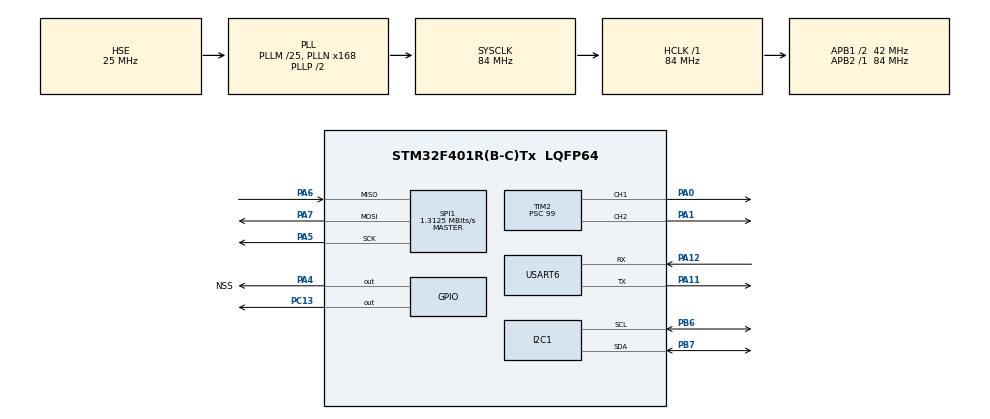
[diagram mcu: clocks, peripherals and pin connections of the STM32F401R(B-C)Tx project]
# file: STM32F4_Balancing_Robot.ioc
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I2C1.I2C_Mode=I2C_Standard
Mcu.Family=STM32F4
Mcu.Name=STM32F401R(B-C)Tx
Mcu.Package=LQFP64
NVIC.PriorityGroup=NVIC_PRIORITYGROUP_4
NVIC.TIM3_IRQn=true\:0\:0\:false\:false\:true\:true\:true\:true
NVIC.USART6_IRQn=true\:0\:0\:false\:false\:true\:true\:true\:true
PA0-WKUP.Signal=S_TIM2_CH1_ETR
PA1.Signal=S_TIM2_CH2
PA11.Mode=Asynchronous
PA11.Signal=USART6_TX
PA12.Mode=Asynchronous
PA12.Signal=USART6_RX
PA4.GPIO_Label=NSS
PA4.GPIO_Speed=GPIO_SPEED_FREQ_VERY_HIGH
PA4.PinState=GPIO_PIN_SET
PA4.Signal=GPIO_Output
PA5.Mode=Full_Duplex_Master
PA5.Signal=SPI1_SCK
PA6.Mode=Full_Duplex_Master
PA6.Signal=SPI1_MISO
PA7.Mode=Full_Duplex_Master
PA7.Signal=SPI1_MOSI
PB6.Mode=I2C
PB6.Signal=I2C1_SCL
PB7.Mode=I2C
PB7.Signal=I2C1_SDA
PC13-ANTI_TAMP.Signal=GPIO_Output
PH0\ -\ OSC_IN.Mode=HSE-External-Oscillator
PH0\ -\ OSC_IN.Signal=RCC_OSC_IN
PH1\ -\ OSC_OUT.Mode=HSE-External-Oscillator
PH1\ -\ OSC_OUT.Signal=RCC_OSC_OUT
ProjectManager.HeapSize=0x200
ProjectManager.StackSize=0x400
ProjectManager.TargetToolchain=STM32CubeIDE
RCC.48MHZClocksFreq_Value=42000000
RCC.AHBFreq_Value=84000000
RCC.APB1CLKDivider=RCC_HCLK_DIV2
RCC.APB1Freq_Value=42000000
RCC.APB1TimFreq_Value=84000000
RCC.APB2Freq_Value=84000000
RCC.APB2TimFreq_Value=84000000
RCC.CortexFreq_Value=84000000
RCC.HCLKFreq_Value=84000000
RCC.HSE_VALUE=25000000
RCC.HSI_VALUE=16000000
RCC.LSE_VALUE=32768
RCC.PLLM=25
RCC.PLLN=168
RCC.PLLSourceVirtual=RCC_PLLSOURCE_HSE
RCC.SYSCLKFreq_VALUE=84000000
RCC.SYSCLKSource=RCC_SYSCLKSOURCE_PLLCLK
RCC.VCOOutputFreq_Value=168000000
SH.S_TIM2_CH1_ETR.0=TIM2_CH1,PWM Generation1 CH1
SH.S_TIM2_CH2.0=TIM2_CH2,PWM Generation2 CH2
SPI1.BaudRatePrescaler=SPI_BAUDRATEPRESCALER_64
SPI1.CLKPhase=SPI_PHASE_2EDGE
SPI1.CLKPolarity=SPI_POLARITY_HIGH
SPI1.CalculateBaudRate=1.3125 MBits/s
SPI1.Direction=SPI_DIRECTION_2LINES
SPI1.Mode=SPI_MODE_MASTER
SPI1.VirtualType=VM_MASTER
TIM2.AutoReloadPreload=TIM_AUTORELOAD_PRELOAD_ENABLE
TIM2.Channel-PWM\ Generation1\ CH1=TIM_CHANNEL_1
TIM2.Channel-PWM\ Generation2\ CH2=TIM_CHANNEL_2
TIM2.OCFastMode_PWM-PWM\ Generation2\ CH2=TIM_OCFAST_ENABLE
TIM2.Period=839
TIM2.Prescaler=99
TIM3.AutoReloadPreload=TIM_AUTORELOAD_PRELOAD_ENABLE
TIM3.Period=41999
TIM3.Prescaler=1
USART6.VirtualMode=VM_ASYNC
VP_TIM2_VS_ClockSourceINT.Mode=Internal
VP_TIM3_VS_ClockSourceINT.Mode=Internal
board=custom

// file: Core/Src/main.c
/* USER CODE BEGIN Header */
/**
  ******************************************************************************
  * @file           : main.c
  * @brief          : Main program body
  ******************************************************************************
  * @attention
  *
  * Copyright (c) 2023 STMicroelectronics.
  * All rights reserved.
  *
  * This software is licensed under terms that can be found in the LICENSE file
  * in the root directory of this software component.
  * If no LICENSE file comes with this software, it is provided AS-IS.
  *
  ******************************************************************************
  */
/* USER CODE END Header */
#include "main.h"
#include "i2c.h"
#include "spi.h"
#include "tim.h"
#include "usart.h"
#include "gpio.h"

/* USER CODE BEGIN Includes */
#include <stdio.h>
#include <math.h>
#include "MPU9250.h"
#include "DCmotor.h"
/* USER CODE END Includes */

/* USER CODE BEGIN PTD */
int _write(int file, char *p, int len){		// printf�??????????????????????????????????????? USART6?�� ?���??????????????????????????????????????? ?��?�� ?��?��
	for (int i = 0; i < len ; i++){
		while(!LL_USART_IsActiveFlag_TXE(USART6));
		LL_USART_TransmitData8(USART6, *(p+i));
	}
	return len;
}
/* USER CODE END PTD */

/* USER CODE BEGIN PV */
extern unsigned char uart_rx_flag;
extern unsigned char uart_rx_data;

/* USER CODE END PV */

void SystemClock_Config(void);

int main(void)
{
  /* USER CODE BEGIN 1 */
	double target_roll = 0.0;
	double roll_PID = 0.0;
	double roll_err;
	double roll_err_sum = 0;
	double roll_err_dt;
	double roll_err_prev;

	short motor_input;
	double dt_double = 0.001;

	double Kp = 40;
	double Ki = 0;
	double Kd = 0;

	double roll_P;
	double roll_I;
	double roll_D;
  /* USER CODE END 1 */

  /* MCU Configuration--------------------------------------------------------*/

  /* Reset of all peripherals, Initializes the Flash interface and the Systick. */
  HAL_Init();

  /* Configure the system clock */
  SystemClock_Config();

  /* Initialize all configured peripherals */
  MX_GPIO_Init();
  MX_USART6_UART_Init();
  MX_I2C1_Init();
  MX_TIM2_Init();
  MX_TIM3_Init();
  MX_SPI1_Init();
  /* USER CODE BEGIN 2 */
  MPU9250_Init();
  MPU9250_Calibration();
  DCmotor_Init();
  LL_TIM_EnableIT_UPDATE(TIM3);
  LL_TIM_EnableCounter(TIM3);
  printf("Start Balancing!\n\n");

  /* USER CODE END 2 */

  /* Infinite loop */
  while (1)
  {

    /* USER CODE BEGIN 3 */
	  getDeltaTime();
//	  if (dt == 0) dt = 1;
//	  dt_double = dt / 1000.f;

	  MPU9250_GetAccel();
	  MPU9250_GetGyro();
	  MPU9250_GetRoll_Acc();
	  MPU9250_GetRoll_Gyr();
	  MPU9250_getRoll_Filtered();

//	  if (IMU.roll_filtered > 15.0) IMU.roll_filtered = 15.0;	// roll filtered max, min limit
//	  else if (IMU.roll_filtered <= -15.0) IMU.roll_filtered = -15.0;
//
//	  roll_err = target_roll - IMU.roll_filtered;				// get roll error
//	  if (isnan(roll_err) != 0) roll_err = roll_err_prev;		// if roll error is nan, use previous value
//
//	  roll_err_sum += roll_err * dt_double;						// roll error integral
//	  if (roll_err_sum > 15.0) roll_err_sum = 15.0;				// roll errer max, min limit
//	  else if (roll_err_sum <= -15.0) roll_err_sum = -15.0;
//
//	  roll_err_dt = (roll_err - roll_err_prev) / dt_double;		// get roll error deteritive
//	  roll_err_prev = roll_err;									// previous roll error save
//
//	  roll_P = Kp * roll_err;									// get roll P, I, D
//	  roll_I = Ki * roll_err_sum;
//	  roll_D = -Kd * roll_err_dt;
//
//	  roll_PID = roll_P + roll_I + roll_D;						// get roll PID
//
//	  if (roll_PID > 0){										// run motor by PWM
//		  motor_input = 150 + roll_PID;
//		  if (motor_input > 800) motor_input = 800;
//		  DCmotor_Backward(motor_input);
//	  }
//	  else {
//		  motor_input = 150 - roll_PID;
//		  if (motor_input > 800) motor_input = 800;
//		  DCmotor_Forward(motor_input);
//	  }

	  printf("%.1f\n", IMU.roll_filtered);
  }
  /* USER CODE END 3 */
}

void SystemClock_Config(void)
{
  RCC_OscInitTypeDef RCC_OscInitStruct = {0};
  RCC_ClkInitTypeDef RCC_ClkInitStruct = {0};

  /** Configure the main internal regulator output voltage
  */
  __HAL_RCC_PWR_CLK_ENABLE();
  __HAL_PWR_VOLTAGESCALING_CONFIG(PWR_REGULATOR_VOLTAGE_SCALE2);

  /** Initializes the RCC Oscillators according to the specified parameters
  * in the RCC_OscInitTypeDef structure.
  */
  RCC_OscInitStruct.OscillatorType = RCC_OSCILLATORTYPE_HSE;
  RCC_OscInitStruct.HSEState = RCC_HSE_ON;
  RCC_OscInitStruct.PLL.PLLState = RCC_PLL_ON;
  RCC_OscInitStruct.PLL.PLLSource = RCC_PLLSOURCE_HSE;
  RCC_OscInitStruct.PLL.PLLM = 25;
  RCC_OscInitStruct.PLL.PLLN = 168;
  RCC_OscInitStruct.PLL.PLLP = RCC_PLLP_DIV2;
  RCC_OscInitStruct.PLL.PLLQ = 4;
  if (HAL_RCC_OscConfig(&RCC_OscInitStruct) != HAL_OK)
  {
    Error_Handler();
  }

  /** Initializes the CPU, AHB and APB buses clocks
  */
  RCC_ClkInitStruct.ClockType = RCC_CLOCKTYPE_HCLK|RCC_CLOCKTYPE_SYSCLK
                              |RCC_CLOCKTYPE_PCLK1|RCC_CLOCKTYPE_PCLK2;
  RCC_ClkInitStruct.SYSCLKSource = RCC_SYSCLKSOURCE_PLLCLK;
  RCC_ClkInitStruct.AHBCLKDivider = RCC_SYSCLK_DIV1;
  RCC_ClkInitStruct.APB1CLKDivider = RCC_HCLK_DIV2;
  RCC_ClkInitStruct.APB2CLKDivider = RCC_HCLK_DIV1;

  if (HAL_RCC_ClockConfig(&RCC_ClkInitStruct, FLASH_LATENCY_2) != HAL_OK)
  {
    Error_Handler();
  }
}

void Error_Handler(void)
{
  __disable_irq();
  while (1)
  {
  }
}
